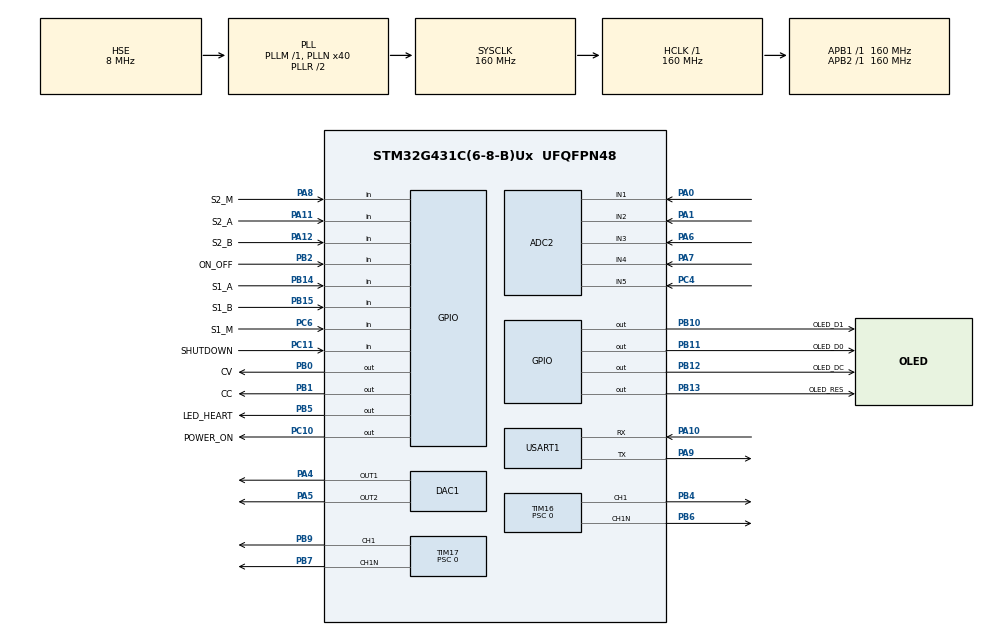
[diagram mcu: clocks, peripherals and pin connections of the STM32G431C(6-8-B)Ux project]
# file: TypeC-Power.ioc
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ADC2.Channel-0\#ChannelRegularConversion=ADC_CHANNEL_1
ADC2.Channel-1\#ChannelRegularConversion=ADC_CHANNEL_2
ADC2.Channel-2\#ChannelRegularConversion=ADC_CHANNEL_3
ADC2.Channel-3\#ChannelRegularConversion=ADC_CHANNEL_4
ADC2.Channel-4\#ChannelRegularConversion=ADC_CHANNEL_5
ADC2.ClockPrescaler=ADC_CLOCK_SYNC_PCLK_DIV4
ADC2.ContinuousConvMode=DISABLE
ADC2.DMAContinuousRequests=ENABLE
ADC2.EOCSelection=ADC_EOC_SEQ_CONV
ADC2.ExternalTrigConv=ADC_EXTERNALTRIG_T2_TRGO
ADC2.NbrOfConversion=5
ADC2.NbrOfConversionFlag=1
ADC2.OffsetNumber-0\#ChannelRegularConversion=ADC_OFFSET_NONE
ADC2.OffsetNumber-1\#ChannelRegularConversion=ADC_OFFSET_NONE
ADC2.OffsetNumber-2\#ChannelRegularConversion=ADC_OFFSET_NONE
ADC2.OffsetNumber-3\#ChannelRegularConversion=ADC_OFFSET_NONE
ADC2.OffsetNumber-4\#ChannelRegularConversion=ADC_OFFSET_NONE
ADC2.Rank-0\#ChannelRegularConversion=1
ADC2.Rank-1\#ChannelRegularConversion=2
ADC2.Rank-2\#ChannelRegularConversion=3
ADC2.Rank-3\#ChannelRegularConversion=4
ADC2.Rank-4\#ChannelRegularConversion=5
ADC2.SamplingTime-0\#ChannelRegularConversion=ADC_SAMPLETIME_92CYCLES_5
ADC2.SamplingTime-1\#ChannelRegularConversion=ADC_SAMPLETIME_92CYCLES_5
ADC2.SamplingTime-2\#ChannelRegularConversion=ADC_SAMPLETIME_92CYCLES_5
ADC2.SamplingTime-3\#ChannelRegularConversion=ADC_SAMPLETIME_92CYCLES_5
ADC2.SamplingTime-4\#ChannelRegularConversion=ADC_SAMPLETIME_92CYCLES_5
DAC1.DAC_Channel-DAC_OUT2=DAC_CHANNEL_2
DAC1.DAC_SampleAndHold-DAC_OUT1=DAC_SAMPLEANDHOLD_DISABLE
DAC1.DAC_SampleAndHold-DAC_OUT2=DAC_SAMPLEANDHOLD_DISABLE
Dma.ADC2.0.Direction=DMA_PERIPH_TO_MEMORY
Dma.ADC2.0.EventEnable=DISABLE
Dma.ADC2.0.Instance=DMA1_Channel1
Dma.ADC2.0.MemDataAlignment=DMA_MDATAALIGN_WORD
Dma.ADC2.0.MemInc=DMA_MINC_ENABLE
Dma.ADC2.0.Mode=DMA_CIRCULAR
Dma.ADC2.0.PeriphDataAlignment=DMA_PDATAALIGN_WORD
Dma.ADC2.0.PeriphInc=DMA_PINC_DISABLE
Dma.ADC2.0.Polarity=HAL_DMAMUX_REQ_GEN_RISING
Dma.ADC2.0.Priority=DMA_PRIORITY_LOW
Dma.ADC2.0.RequestNumber=1
Dma.ADC2.0.SignalID=NONE
Dma.ADC2.0.SyncEnable=DISABLE
Dma.ADC2.0.SyncPolarity=HAL_DMAMUX_SYNC_NO_EVENT
Dma.ADC2.0.SyncRequestNumber=1
Dma.ADC2.0.SyncSignalID=NONE
Dma.Request0=ADC2
Mcu.Family=STM32G4
Mcu.Name=STM32G431C(6-8-B)Ux
Mcu.Package=UFQFPN48
NVIC.DMA1_Channel1_IRQn=true\:0\:0\:true\:false\:true\:false\:true
NVIC.PriorityGroup=NVIC_PRIORITYGROUP_4
NVIC.TIM3_IRQn=true\:0\:0\:false\:false\:true\:true\:true
NVIC.USART1_IRQn=true\:0\:0\:false\:false\:true\:true\:true
PA0.Mode=IN1-Single-Ended
PA0.Signal=ADC2_IN1
PA1.Mode=IN2-Single-Ended
PA1.Signal=ADC2_IN2
PA10.Mode=Multiprocessor_communication
PA10.Signal=USART1_RX
PA11.GPIO_Label=S2_A
PA11.GPIO_PuPd=GPIO_PULLUP
PA11.Signal=GPIO_Input
PA12.GPIO_Label=S2_B
PA12.GPIO_PuPd=GPIO_PULLUP
PA12.Signal=GPIO_Input
PA13.Mode=Serial_Wire
PA13.Signal=SYS_JTMS-SWDIO
PA14.Mode=Serial_Wire
PA14.Signal=SYS_JTCK-SWCLK
PA4.Signal=COMP_DAC11_group
PA5.Signal=COMP_DAC12_group
PA6.Mode=IN3-Single-Ended
PA6.Signal=ADC2_IN3
PA7.Mode=IN4-Single-Ended
PA7.Signal=ADC2_IN4
PA8.GPIO_Label=S2_M
PA8.GPIO_PuPd=GPIO_PULLUP
PA8.Signal=GPIO_Input
PA9.Mode=Multiprocessor_communication
PA9.Signal=USART1_TX
PB0.GPIO_Label=CV
PB0.PinState=GPIO_PIN_SET
PB0.Signal=GPIO_Output
PB1.GPIO_Label=CC
PB1.PinState=GPIO_PIN_SET
PB1.Signal=GPIO_Output
PB10.GPIO_Label=OLED_D1
PB10.PinState=GPIO_PIN_SET
PB10.Signal=GPIO_Output
PB11.GPIO_Label=OLED_D0
PB11.PinState=GPIO_PIN_SET
PB11.Signal=GPIO_Output
PB12.GPIO_Label=OLED_DC
PB12.PinState=GPIO_PIN_SET
PB12.Signal=GPIO_Output
PB13.GPIO_Label=OLED_RES
PB13.PinState=GPIO_PIN_SET
PB13.Signal=GPIO_Output
PB14.GPIO_Label=S1_A
PB14.GPIO_PuPd=GPIO_PULLUP
PB14.Signal=GPIO_Input
PB15.GPIO_Label=S1_B
PB15.GPIO_PuPd=GPIO_PULLUP
PB15.Signal=GPIO_Input
PB2.GPIO_Label=ON_OFF
PB2.GPIO_PuPd=GPIO_PULLUP
PB2.Signal=GPIO_Input
PB4.GPIO_PuPd=GPIO_PULLDOWN
PB4.GPIO_Speed=GPIO_SPEED_FREQ_VERY_HIGH
PB4.Signal=S_TIM16_CH1
PB5.GPIO_Label=LED_HEART
PB5.PinState=GPIO_PIN_SET
PB5.Signal=GPIO_Output
PB6.GPIO_PuPd=GPIO_PULLDOWN
PB6.GPIO_Speed=GPIO_SPEED_FREQ_VERY_HIGH
PB6.Mode=PWM Generation1 CH1 CH1N
PB6.Signal=TIM16_CH1N
PB7.GPIO_PuPd=GPIO_PULLDOWN
PB7.GPIO_Speed=GPIO_SPEED_FREQ_VERY_HIGH
PB7.Mode=PWM Generation1 CH1 CH1N
PB7.Signal=TIM17_CH1N
PB9.GPIO_PuPd=GPIO_PULLDOWN
PB9.GPIO_Speed=GPIO_SPEED_FREQ_VERY_HIGH
PB9.Signal=S_TIM17_CH1
PC10.GPIO_Label=POWER_ON
PC10.PinState=GPIO_PIN_SET
PC10.Signal=GPIO_Output
PC11.GPIO_Label=SHUTDOWN
PC11.GPIO_PuPd=GPIO_PULLUP
PC11.Signal=GPIO_Input
PC4.Mode=IN5-Single-Ended
PC4.Signal=ADC2_IN5
PC6.GPIO_Label=S1_M
PC6.GPIO_PuPd=GPIO_PULLUP
PC6.Signal=GPIO_Input
PF0-OSC_IN.Mode=HSE-External-Oscillator
PF0-OSC_IN.Signal=RCC_OSC_IN
PF1-OSC_OUT.Mode=HSE-External-Oscillator
PF1-OSC_OUT.Signal=RCC_OSC_OUT
ProjectManager.HeapSize=0x200
ProjectManager.StackSize=0x400
ProjectManager.TargetToolchain=STM32CubeIDE
RCC.ADC12Freq_Value=160000000
RCC.AHBFreq_Value=160000000
RCC.APB1Freq_Value=160000000
RCC.APB1TimFreq_Value=160000000
RCC.APB2Freq_Value=160000000
RCC.APB2TimFreq_Value=160000000
RCC.CortexFreq_Value=160000000
RCC.EXTERNAL_CLOCK_VALUE=12288000
RCC.HCLKFreq_Value=160000000
RCC.HSE_VALUE=8000000
RCC.HSI48_VALUE=48000000
RCC.HSI_VALUE=16000000
RCC.LSE_VALUE=32768
RCC.PLLN=40
RCC.PLLSourceVirtual=RCC_PLLSOURCE_HSE
RCC.SYSCLKFreq_VALUE=160000000
RCC.SYSCLKSource=RCC_SYSCLKSOURCE_PLLCLK
RCC.USBFreq_Value=160000000
RCC.VCOOutputFreq_Value=320000000
SH.COMP_DAC11_group.0=DAC1_OUT1,DAC_OUT1
SH.COMP_DAC12_group.0=DAC1_OUT2,DAC_OUT2
SH.S_TIM16_CH1.0=TIM16_CH1,PWM Generation1 CH1 CH1N
SH.S_TIM17_CH1.0=TIM17_CH1,PWM Generation1 CH1 CH1N
TIM16.Channel=TIM_CHANNEL_1
TIM16.DeadTime=20
TIM16.DeadTimePreload=ENABLE
TIM16.OCMode_PWM=TIM_OCMODE_PWM2
TIM16.PeriodNoDither=499
TIM16.Prescaler=0
TIM16.PulseNoDither_1=0
TIM17.Channel=TIM_CHANNEL_1
TIM17.DeadTime=20
TIM17.DeadTimePreload=ENABLE
TIM17.OCMode_PWM=TIM_OCMODE_PWM2
TIM17.PeriodNoDither=499
TIM17.Prescaler=0
TIM17.PulseNoDither_1=0
TIM2.PeriodNoDither=99
TIM2.Prescaler=159
TIM2.TIM_MasterOutputTrigger=TIM_TRGO_UPDATE
TIM3.AutoReloadPreload=TIM_AUTORELOAD_PRELOAD_ENABLE
TIM3.ClockDivision=TIM_CLOCKDIVISION_DIV1
TIM3.PeriodNoDither=999
TIM3.Prescaler=159
TIM3.TIM_MasterOutputTrigger=TIM_TRGO_UPDATE
USART1.VirtualMode-Multiprocessor_communication=VM_ASYNC
VP_CORDIC_VS_CORDIC.Mode=CORDIC_Activate
VP_SYS_VS_DBSignals.Mode=DisableDeadBatterySignals
VP_TIM16_VS_ClockSourceINT.Mode=Enable_Timer
VP_TIM17_VS_ClockSourceINT.Mode=Enable_Timer
VP_TIM2_VS_ClockSourceINT.Mode=Internal
VP_TIM3_VS_ClockSourceINT.Mode=Internal
board=custom

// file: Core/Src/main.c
/* USER CODE BEGIN Header */
/**
  ******************************************************************************
  * @file           : main.c
  * @brief          : Main program body
  ******************************************************************************
  * @attention
  *
  * <h2><center>&copy; Copyright (c) 2021 STMicroelectronics.
  * All rights reserved.</center></h2>
  *
  * This software component is licensed by ST under BSD 3-Clause license,
  * the "License"; You may not use this file except in compliance with the
  * License. You may obtain a copy of the License at:
  *                        opensource.org/licenses/BSD-3-Clause
  *
  ******************************************************************************
  */
/* USER CODE END Header */
#include "main.h"
#include "adc.h"
#include "cordic.h"
#include "dac.h"
#include "dma.h"
#include "tim.h"
#include "usart.h"
#include "gpio.h"

/* USER CODE BEGIN Includes */
#include "oled.h"
#include "ui.h"
#include "input.h"
#include "control.h"
#include "stdio.h"
#include "math.h"
#include "arm_math.h"
/* USER CODE END Includes */

/* USER CODE BEGIN PV */
Power_type g_power_set;
Power_type g_power_atcual;
Input_type g_input;
uint32_t g_adc_buff[5];			//五路AD采样[输入电压，输入电流，中点电压，输出电压，输出电流]
uint8_t g_err_code = 0;
/* USER CODE END PV */

void SystemClock_Config(void);

int main(void)
{
  /* USER CODE BEGIN 1 */
  unsigned int i = 0;
  /* USER CODE END 1 */

  /* MCU Configuration--------------------------------------------------------*/

  /* Reset of all peripherals, Initializes the Flash interface and the Systick. */
  HAL_Init();

  /* Configure the system clock */
  SystemClock_Config();

  /* Initialize all configured peripherals */
  MX_GPIO_Init();
  MX_DMA_Init();
  MX_ADC2_Init();
  MX_DAC1_Init();
  MX_USART1_UART_Init();
  MX_TIM16_Init();
  MX_TIM17_Init();
  MX_TIM2_Init();
  MX_TIM3_Init();
  MX_CORDIC_Init();
  /* USER CODE BEGIN 2 */
  HAL_TIM_Base_Start(&htim2);             //TIM2触发ADC
  HAL_ADC_Start_DMA(&hadc2, g_adc_buff, 5); //开启DMA

  HAL_DAC_SetValue(&hdac1, DAC_CHANNEL_1, DAC_ALIGN_12B_R, 2048); //设置DAC1_CH1输出1.65V
  HAL_DAC_SetValue(&hdac1, DAC_CHANNEL_2, DAC_ALIGN_12B_R, 2048); //设置DAC1_CH2输出1.65V
  HAL_DAC_Start(&hdac1, DAC_CHANNEL_1);                           //开启DAC1_CH1
  HAL_DAC_Start(&hdac1, DAC_CHANNEL_2);                           //开启DAC1_CH2
  HAL_TIM_Base_Start_IT(&htim3);
  OLED_Init();                                                    //OLED初始化
  /* USER CODE END 2 */

  /* Infinite loop */
  /* USER CODE BEGIN WHILE */
  while (1)
  {
    HAL_GPIO_TogglePin(LED_HEART_GPIO_Port, LED_HEART_Pin);
    main_ui(g_power_set, g_power_atcual);
//    printf("sin(1)=%f",arm_sin_f32(0.1));
    /* USER CODE END WHILE */

  }
}

void SystemClock_Config(void)
{
  RCC_OscInitTypeDef RCC_OscInitStruct = {0};
  RCC_ClkInitTypeDef RCC_ClkInitStruct = {0};
  RCC_PeriphCLKInitTypeDef PeriphClkInit = {0};

  /** Configure the main internal regulator output voltage
  */
  HAL_PWREx_ControlVoltageScaling(PWR_REGULATOR_VOLTAGE_SCALE1_BOOST);
  /** Initializes the RCC Oscillators according to the specified parameters
  * in the RCC_OscInitTypeDef structure.
  */
  RCC_OscInitStruct.OscillatorType = RCC_OSCILLATORTYPE_HSE;
  RCC_OscInitStruct.HSEState = RCC_HSE_ON;
  RCC_OscInitStruct.PLL.PLLState = RCC_PLL_ON;
  RCC_OscInitStruct.PLL.PLLSource = RCC_PLLSOURCE_HSE;
  RCC_OscInitStruct.PLL.PLLM = RCC_PLLM_DIV1;
  RCC_OscInitStruct.PLL.PLLN = 40;
  RCC_OscInitStruct.PLL.PLLP = RCC_PLLP_DIV2;
  RCC_OscInitStruct.PLL.PLLQ = RCC_PLLQ_DIV2;
  RCC_OscInitStruct.PLL.PLLR = RCC_PLLR_DIV2;
  if (HAL_RCC_OscConfig(&RCC_OscInitStruct) != HAL_OK)
  {
    Error_Handler();
  }
  /** Initializes the CPU, AHB and APB buses clocks
  */
  RCC_ClkInitStruct.ClockType = RCC_CLOCKTYPE_HCLK|RCC_CLOCKTYPE_SYSCLK
                              |RCC_CLOCKTYPE_PCLK1|RCC_CLOCKTYPE_PCLK2;
  RCC_ClkInitStruct.SYSCLKSource = RCC_SYSCLKSOURCE_PLLCLK;
  RCC_ClkInitStruct.AHBCLKDivider = RCC_SYSCLK_DIV1;
  RCC_ClkInitStruct.APB1CLKDivider = RCC_HCLK_DIV1;
  RCC_ClkInitStruct.APB2CLKDivider = RCC_HCLK_DIV1;

  if (HAL_RCC_ClockConfig(&RCC_ClkInitStruct, FLASH_LATENCY_4) != HAL_OK)
  {
    Error_Handler();
  }
  /** Initializes the peripherals clocks
  */
  PeriphClkInit.PeriphClockSelection = RCC_PERIPHCLK_USART1|RCC_PERIPHCLK_ADC12;
  PeriphClkInit.Usart1ClockSelection = RCC_USART1CLKSOURCE_PCLK2;
  PeriphClkInit.Adc12ClockSelection = RCC_ADC12CLKSOURCE_SYSCLK;
  if (HAL_RCCEx_PeriphCLKConfig(&PeriphClkInit) != HAL_OK)
  {
    Error_Handler();
  }
}

void Error_Handler(void)
{
  __disable_irq();
  while (1)
  {
  }
}

/************************ (C) COPYRIGHT STMicroelectronics *****END OF FILE****/
